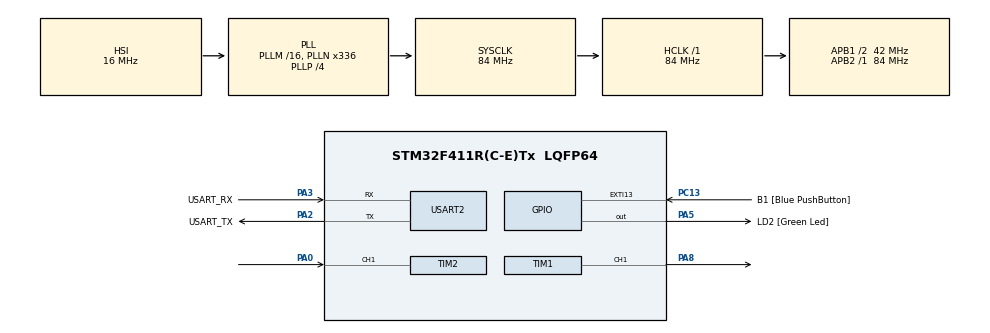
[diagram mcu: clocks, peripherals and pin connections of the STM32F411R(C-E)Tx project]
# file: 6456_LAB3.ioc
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Dma.Request0=TIM2_CH1
Dma.TIM2_CH1.0.Direction=DMA_PERIPH_TO_MEMORY
Dma.TIM2_CH1.0.FIFOMode=DMA_FIFOMODE_DISABLE
Dma.TIM2_CH1.0.Instance=DMA1_Stream5
Dma.TIM2_CH1.0.MemDataAlignment=DMA_MDATAALIGN_WORD
Dma.TIM2_CH1.0.MemInc=DMA_MINC_ENABLE
Dma.TIM2_CH1.0.Mode=DMA_CIRCULAR
Dma.TIM2_CH1.0.PeriphDataAlignment=DMA_PDATAALIGN_WORD
Dma.TIM2_CH1.0.PeriphInc=DMA_PINC_DISABLE
Dma.TIM2_CH1.0.Priority=DMA_PRIORITY_LOW
Mcu.Family=STM32F4
Mcu.Name=STM32F411R(C-E)Tx
Mcu.Package=LQFP64
NVIC.DMA1_Stream5_IRQn=true\:0\:0\:false\:false\:true\:false\:true\:true
NVIC.PriorityGroup=NVIC_PRIORITYGROUP_0
PA0-WKUP.Signal=S_TIM2_CH1_ETR
PA13.GPIO_Label=TMS
PA13.Mode=Serial_Wire
PA13.Signal=SYS_JTMS-SWDIO
PA14.GPIO_Label=TCK
PA14.Mode=Serial_Wire
PA14.Signal=SYS_JTCK-SWCLK
PA2.GPIO_Label=USART_TX
PA2.Mode=Asynchronous
PA2.Signal=USART2_TX
PA3.GPIO_Label=USART_RX
PA3.Mode=Asynchronous
PA3.Signal=USART2_RX
PA5.GPIO_Label=LD2 [Green Led]
PA5.Signal=GPIO_Output
PA8.Signal=S_TIM1_CH1
PB3.GPIO_Label=SWO
PB3.Signal=SYS_JTDO-SWO
PC13-ANTI_TAMP.GPIO_Label=B1 [Blue PushButton]
PC13-ANTI_TAMP.GPIO_ModeDefaultEXTI=GPIO_MODE_IT_FALLING
PC13-ANTI_TAMP.Signal=GPXTI13
PC14-OSC32_IN.Mode=LSE-External-Oscillator
PC14-OSC32_IN.Signal=RCC_OSC32_IN
PC15-OSC32_OUT.Mode=LSE-External-Oscillator
PC15-OSC32_OUT.Signal=RCC_OSC32_OUT
PH0\ -\ OSC_IN.Mode=HSE-External-Clock-Source
PH0\ -\ OSC_IN.Signal=RCC_OSC_IN
PH1\ -\ OSC_OUT.Mode=HSE-External-Clock-Source
PH1\ -\ OSC_OUT.Signal=RCC_OSC_OUT
ProjectManager.HeapSize=0x200
ProjectManager.StackSize=0x400
ProjectManager.TargetToolchain=STM32CubeIDE
RCC.48MHZClocksFreq_Value=84000000
RCC.AHBFreq_Value=84000000
RCC.APB1CLKDivider=RCC_HCLK_DIV2
RCC.APB1Freq_Value=42000000
RCC.APB1TimFreq_Value=84000000
RCC.APB2Freq_Value=84000000
RCC.APB2TimFreq_Value=84000000
RCC.CortexFreq_Value=84000000
RCC.FLatency-AdvancedSettings=FLASH_LATENCY_2
RCC.HCLKFreq_Value=84000000
RCC.HSE_VALUE=8000000
RCC.HSI_VALUE=16000000
RCC.PLLN=336
RCC.PLLP=RCC_PLLP_DIV4
RCC.SYSCLKFreq_VALUE=84000000
RCC.SYSCLKSource=RCC_SYSCLKSOURCE_PLLCLK
RCC.VCOOutputFreq_Value=336000000
SH.S_TIM1_CH1.0=TIM1_CH1,PWM Generation1 CH1
SH.S_TIM2_CH1_ETR.0=TIM2_CH1,Input_Capture1_from_TI1
TIM1.Channel-PWM\ Generation1\ CH1=TIM_CHANNEL_1
TIM1.Period=999
TIM1.Prescaler=83
TIM1.Pulse-PWM\ Generation1\ CH1=500
TIM2.Channel-Input_Capture1_from_TI1=TIM_CHANNEL_1
TIM2.Prescaler=83
USART2.VirtualMode=VM_ASYNC
VP_TIM1_VS_ClockSourceINT.Mode=Internal
VP_TIM2_VS_ClockSourceINT.Mode=Internal
board=NUCLEO-F411RE

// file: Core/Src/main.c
/* USER CODE BEGIN Header */
/**
  ******************************************************************************
  * @file           : main.c
  * @brief          : Main program body
  ******************************************************************************
  * @attention
  *
  * Copyright (c) 2023 STMicroelectronics.
  * All rights reserved.
  *
  * This software is licensed under terms that can be found in the LICENSE file
  * in the root directory of this software component.
  * If no LICENSE file comes with this software, it is provided AS-IS.
  *
  ******************************************************************************
  */
/* USER CODE END Header */
#include "main.h"

/* USER CODE BEGIN Includes */
#define IC_Buffer_Size 20
/* USER CODE END Includes */

TIM_HandleTypeDef htim1;
TIM_HandleTypeDef htim2;
DMA_HandleTypeDef hdma_tim2_ch1;

UART_HandleTypeDef huart2;

/* USER CODE BEGIN PV */

uint32_t InputCapture[IC_Buffer_Size];
float averageRisingPeriod;
uint32_t duty = 1000;
uint32_t MotorsetDuty = 0;
uint8_t MotorControlEnable = 0; //1 on 0 off

float MotorSetPRM = 0;
float MotorReadRPM = 0;
int t =0;

/* USER CODE END PV */

void SystemClock_Config(void);
static void MX_GPIO_Init(void);
static void MX_DMA_Init(void);
static void MX_USART2_UART_Init(void);
static void MX_TIM1_Init(void);
static void MX_TIM2_Init(void);
/* USER CODE BEGIN PFP */
float IC_Calc_Period();
/* USER CODE END PFP */

int main(void)
{

  /* MCU Configuration--------------------------------------------------------*/

  /* Reset of all peripherals, Initializes the Flash interface and the Systick. */
  HAL_Init();

  /* Configure the system clock */
  SystemClock_Config();

  /* Initialize all configured peripherals */
  MX_GPIO_Init();
  MX_DMA_Init();
  MX_USART2_UART_Init();
  MX_TIM1_Init();
  MX_TIM2_Init();
  /* USER CODE BEGIN 2 */

  HAL_TIM_Base_Start(&htim2);              //TIM start , store data using pointer
  HAL_TIM_IC_Start_DMA(&htim2, TIM_CHANNEL_1, InputCapture, IC_Buffer_Size);  //DMA start when pointer get vaule

  HAL_TIM_Base_Start(&htim1);
  HAL_TIM_PWM_Start(&htim1, TIM_CHANNEL_1);
  /* USER CODE END 2 */

  /* Infinite loop */
  while (1)
  {

    /* USER CODE BEGIN 3 */
	  static uint32_t timestamp = 0;
		  	  if(HAL_GetTick()>= timestamp)
		  	  {
		  		  timestamp = HAL_GetTick()+500;

		  		  if(MotorControlEnable == 0) //off
		  		  {

		  			  duty = MotorsetDuty*10;
		  			  __HAL_TIM_SET_COMPARE(&htim1,TIM_CHANNEL_1,duty);
		  			  MotorReadRPM = 60/(IC_Calc_Period() * 0.000001*768);

		  		  }
		  		  else if(MotorControlEnable == 1) //on
		  		  {
		  			  //duty = MotorSetPRM*10;
		  			  if(MotorReadRPM < MotorSetPRM*0.97) //read less than set
		  			  {
		  				duty = duty+10; // resolution 1% , I have 1000 so 1% of 1000 = 10
			  			__HAL_TIM_SET_COMPARE(&htim1,TIM_CHANNEL_1,duty);
			  			MotorReadRPM = 60/(IC_Calc_Period() * 0.000001*768);
			  			t=1;

		  			  }
		  			  else if(MotorReadRPM > MotorSetPRM*1.03) //read more than set
		  			  {
		  				duty = duty-10;
			  			__HAL_TIM_SET_COMPARE(&htim1,TIM_CHANNEL_1,duty);
			  			  MotorReadRPM = 60/(IC_Calc_Period() * 0.000001*768);
			  			  t=2;
		  			  }
		  		  }

		  	  }
  }
  /* USER CODE END 3 */
}

void SystemClock_Config(void)
{
  RCC_OscInitTypeDef RCC_OscInitStruct = {0};
  RCC_ClkInitTypeDef RCC_ClkInitStruct = {0};

  /** Configure the main internal regulator output voltage
  */
  __HAL_RCC_PWR_CLK_ENABLE();
  __HAL_PWR_VOLTAGESCALING_CONFIG(PWR_REGULATOR_VOLTAGE_SCALE1);

  /** Initializes the RCC Oscillators according to the specified parameters
  * in the RCC_OscInitTypeDef structure.
  */
  RCC_OscInitStruct.OscillatorType = RCC_OSCILLATORTYPE_HSI;
  RCC_OscInitStruct.HSIState = RCC_HSI_ON;
  RCC_OscInitStruct.HSICalibrationValue = RCC_HSICALIBRATION_DEFAULT;
  RCC_OscInitStruct.PLL.PLLState = RCC_PLL_ON;
  RCC_OscInitStruct.PLL.PLLSource = RCC_PLLSOURCE_HSI;
  RCC_OscInitStruct.PLL.PLLM = 16;
  RCC_OscInitStruct.PLL.PLLN = 336;
  RCC_OscInitStruct.PLL.PLLP = RCC_PLLP_DIV4;
  RCC_OscInitStruct.PLL.PLLQ = 4;
  if (HAL_RCC_OscConfig(&RCC_OscInitStruct) != HAL_OK)
  {
    Error_Handler();
  }

  /** Initializes the CPU, AHB and APB buses clocks
  */
  RCC_ClkInitStruct.ClockType = RCC_CLOCKTYPE_HCLK|RCC_CLOCKTYPE_SYSCLK
                              |RCC_CLOCKTYPE_PCLK1|RCC_CLOCKTYPE_PCLK2;
  RCC_ClkInitStruct.SYSCLKSource = RCC_SYSCLKSOURCE_PLLCLK;
  RCC_ClkInitStruct.AHBCLKDivider = RCC_SYSCLK_DIV1;
  RCC_ClkInitStruct.APB1CLKDivider = RCC_HCLK_DIV2;
  RCC_ClkInitStruct.APB2CLKDivider = RCC_HCLK_DIV1;

  if (HAL_RCC_ClockConfig(&RCC_ClkInitStruct, FLASH_LATENCY_2) != HAL_OK)
  {
    Error_Handler();
  }
}

static void MX_TIM1_Init(void)
{

  TIM_ClockConfigTypeDef sClockSourceConfig = {0};
  TIM_MasterConfigTypeDef sMasterConfig = {0};
  TIM_OC_InitTypeDef sConfigOC = {0};
  TIM_BreakDeadTimeConfigTypeDef sBreakDeadTimeConfig = {0};

  htim1.Instance = TIM1;
  htim1.Init.Prescaler = 83;
  htim1.Init.CounterMode = TIM_COUNTERMODE_UP;
  htim1.Init.Period = 999;
  htim1.Init.ClockDivision = TIM_CLOCKDIVISION_DIV1;
  htim1.Init.RepetitionCounter = 0;
  htim1.Init.AutoReloadPreload = TIM_AUTORELOAD_PRELOAD_DISABLE;
  if (HAL_TIM_Base_Init(&htim1) != HAL_OK)
  {
    Error_Handler();
  }
  sClockSourceConfig.ClockSource = TIM_CLOCKSOURCE_INTERNAL;
  if (HAL_TIM_ConfigClockSource(&htim1, &sClockSourceConfig) != HAL_OK)
  {
    Error_Handler();
  }
  if (HAL_TIM_PWM_Init(&htim1) != HAL_OK)
  {
    Error_Handler();
  }
  sMasterConfig.MasterOutputTrigger = TIM_TRGO_RESET;
  sMasterConfig.MasterSlaveMode = TIM_MASTERSLAVEMODE_DISABLE;
  if (HAL_TIMEx_MasterConfigSynchronization(&htim1, &sMasterConfig) != HAL_OK)
  {
    Error_Handler();
  }
  sConfigOC.OCMode = TIM_OCMODE_PWM1;
  sConfigOC.Pulse = 500;
  sConfigOC.OCPolarity = TIM_OCPOLARITY_HIGH;
  sConfigOC.OCNPolarity = TIM_OCNPOLARITY_HIGH;
  sConfigOC.OCFastMode = TIM_OCFAST_DISABLE;
  sConfigOC.OCIdleState = TIM_OCIDLESTATE_RESET;
  sConfigOC.OCNIdleState = TIM_OCNIDLESTATE_RESET;
  if (HAL_TIM_PWM_ConfigChannel(&htim1, &sConfigOC, TIM_CHANNEL_1) != HAL_OK)
  {
    Error_Handler();
  }
  sBreakDeadTimeConfig.OffStateRunMode = TIM_OSSR_DISABLE;
  sBreakDeadTimeConfig.OffStateIDLEMode = TIM_OSSI_DISABLE;
  sBreakDeadTimeConfig.LockLevel = TIM_LOCKLEVEL_OFF;
  sBreakDeadTimeConfig.DeadTime = 0;
  sBreakDeadTimeConfig.BreakState = TIM_BREAK_DISABLE;
  sBreakDeadTimeConfig.BreakPolarity = TIM_BREAKPOLARITY_HIGH;
  sBreakDeadTimeConfig.AutomaticOutput = TIM_AUTOMATICOUTPUT_DISABLE;
  if (HAL_TIMEx_ConfigBreakDeadTime(&htim1, &sBreakDeadTimeConfig) != HAL_OK)
  {
    Error_Handler();
  }
  HAL_TIM_MspPostInit(&htim1);

}

static void MX_TIM2_Init(void)
{

  TIM_ClockConfigTypeDef sClockSourceConfig = {0};
  TIM_MasterConfigTypeDef sMasterConfig = {0};
  TIM_IC_InitTypeDef sConfigIC = {0};

  htim2.Instance = TIM2;
  htim2.Init.Prescaler = 83;
  htim2.Init.CounterMode = TIM_COUNTERMODE_UP;
  htim2.Init.Period = 4294967295;
  htim2.Init.ClockDivision = TIM_CLOCKDIVISION_DIV1;
  htim2.Init.AutoReloadPreload = TIM_AUTORELOAD_PRELOAD_DISABLE;
  if (HAL_TIM_Base_Init(&htim2) != HAL_OK)
  {
    Error_Handler();
  }
  sClockSourceConfig.ClockSource = TIM_CLOCKSOURCE_INTERNAL;
  if (HAL_TIM_ConfigClockSource(&htim2, &sClockSourceConfig) != HAL_OK)
  {
    Error_Handler();
  }
  if (HAL_TIM_IC_Init(&htim2) != HAL_OK)
  {
    Error_Handler();
  }
  sMasterConfig.MasterOutputTrigger = TIM_TRGO_RESET;
  sMasterConfig.MasterSlaveMode = TIM_MASTERSLAVEMODE_DISABLE;
  if (HAL_TIMEx_MasterConfigSynchronization(&htim2, &sMasterConfig) != HAL_OK)
  {
    Error_Handler();
  }
  sConfigIC.ICPolarity = TIM_INPUTCHANNELPOLARITY_RISING;
  sConfigIC.ICSelection = TIM_ICSELECTION_DIRECTTI;
  sConfigIC.ICPrescaler = TIM_ICPSC_DIV1;
  sConfigIC.ICFilter = 0;
  if (HAL_TIM_IC_ConfigChannel(&htim2, &sConfigIC, TIM_CHANNEL_1) != HAL_OK)
  {
    Error_Handler();
  }

}

static void MX_USART2_UART_Init(void)
{

  huart2.Instance = USART2;
  huart2.Init.BaudRate = 115200;
  huart2.Init.WordLength = UART_WORDLENGTH_8B;
  huart2.Init.StopBits = UART_STOPBITS_1;
  huart2.Init.Parity = UART_PARITY_NONE;
  huart2.Init.Mode = UART_MODE_TX_RX;
  huart2.Init.HwFlowCtl = UART_HWCONTROL_NONE;
  huart2.Init.OverSampling = UART_OVERSAMPLING_16;
  if (HAL_UART_Init(&huart2) != HAL_OK)
  {
    Error_Handler();
  }

}

static void MX_DMA_Init(void)
{

  /* DMA controller clock enable */
  __HAL_RCC_DMA1_CLK_ENABLE();

  /* DMA interrupt init */
  /* DMA1_Stream5_IRQn interrupt configuration */
  HAL_NVIC_SetPriority(DMA1_Stream5_IRQn, 0, 0);
  HAL_NVIC_EnableIRQ(DMA1_Stream5_IRQn);

}

static void MX_GPIO_Init(void)
{
  GPIO_InitTypeDef GPIO_InitStruct = {0};

  /* GPIO Ports Clock Enable */
  __HAL_RCC_GPIOC_CLK_ENABLE();
  __HAL_RCC_GPIOH_CLK_ENABLE();
  __HAL_RCC_GPIOA_CLK_ENABLE();
  __HAL_RCC_GPIOB_CLK_ENABLE();

  /*Configure GPIO pin Output Level */
  HAL_GPIO_WritePin(LD2_GPIO_Port, LD2_Pin, GPIO_PIN_RESET);

  /*Configure GPIO pin : B1_Pin */
  GPIO_InitStruct.Pin = B1_Pin;
  GPIO_InitStruct.Mode = GPIO_MODE_IT_FALLING;
  GPIO_InitStruct.Pull = GPIO_NOPULL;
  HAL_GPIO_Init(B1_GPIO_Port, &GPIO_InitStruct);

  /*Configure GPIO pin : LD2_Pin */
  GPIO_InitStruct.Pin = LD2_Pin;
  GPIO_InitStruct.Mode = GPIO_MODE_OUTPUT_PP;
  GPIO_InitStruct.Pull = GPIO_NOPULL;
  GPIO_InitStruct.Speed = GPIO_SPEED_FREQ_LOW;
  HAL_GPIO_Init(LD2_GPIO_Port, &GPIO_InitStruct);

}

/* USER CODE BEGIN 4 */
float IC_Calc_Period()
{
	uint32_t currentDMApointer = IC_Buffer_Size - __HAL_DMA_GET_COUNTER((htim2.hdma[1]));
	uint32_t lastValidDMApointer = (currentDMApointer -1 + IC_Buffer_Size) % IC_Buffer_Size;
	uint32_t i = (lastValidDMApointer +  IC_Buffer_Size - 5) % IC_Buffer_Size;

	int32_t sumdiff = 0;
	while (i != lastValidDMApointer)
	{
		uint32_t firstCapture = InputCapture[i];

		uint32_t nextCapture = InputCapture[(i+1)%IC_Buffer_Size];
		sumdiff += nextCapture - firstCapture ;
		i = (i+1) % IC_Buffer_Size;
	}
	return sumdiff/ 5.0;
}

/* USER CODE END 4 */

void Error_Handler(void)
{
  __disable_irq();
  while (1)
  {
  }
}
